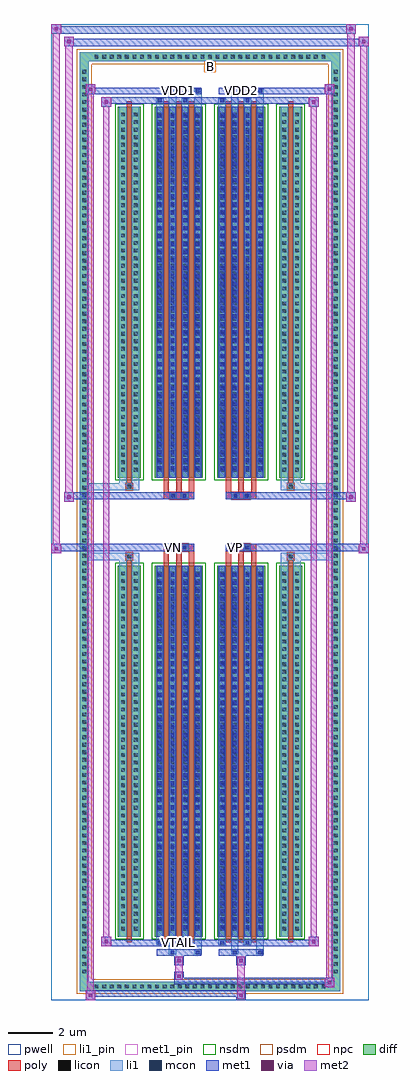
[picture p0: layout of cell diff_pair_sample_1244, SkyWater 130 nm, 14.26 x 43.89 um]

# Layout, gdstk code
import gdstk
lib = gdstk.Library(unit=1e-6, precision=5e-09)
def R(c, l, rs):  # rectangles x0, y0, x1, y1
    for r in rs: c.add(gdstk.rectangle(r[:2], r[2:], *l))
def A(c, l, x, y, w, h, nx, ny, dx, dy):  # array of equal rectangles
    R(c, l, [(x+i*dx, y+j*dy, x+i*dx+w, y+j*dy+h) for i in range(nx) for j in range(ny)])
def P(c, l, *ps):  # polygons
    for p in ps: c.add(gdstk.Polygon(p, *l))
pwell = (64, 44)
diff = (65, 20)
poly = (66, 20)
licon = (66, 44)
li1_pin = (67, 16)
li1 = (67, 20)
mcon = (67, 44)
met1_pin = (68, 16)
met1 = (68, 20)
via = (68, 44)
met2 = (69, 20)
nsdm = (93, 44)
psdm = (94, 20)
npc = (95, 20)

diff_pair_sample_1244 = lib.new_cell('diff_pair_sample_1244')
R(diff_pair_sample_1244, pwell, [(-7.13,-21.51,7.13,22.38), (-4.45,-19.7,-0.01,-0.8), (0.01,-19.7,4.45,-0.8), (-4.45,0.8,-0.01,19.7), (0.01,0.8,4.45,19.7)])
A(diff_pair_sample_1244, diff, -5.305, -21.11, 0.41, 0.41, 31, 2, 0.34, 41.81)
A(diff_pair_sample_1244, diff, -5.86, -20.435, 0.41, 0.41, 1, 120, 0, 0.34)
A(diff_pair_sample_1244, diff, 5.45, -20.435, 0.41, 0.41, 1, 120, 0, 0.34)
R(diff_pair_sample_1244, diff, [(-5.305,-21.11,5.305,-20.7), (-5.86,-20.435,-5.45,20.435), (5.45,-20.435,5.86,20.435), (-4.14,-18.655,-3.12,-1.985), (-2.48,-18.655,-0.32,-1.985), (0.32,-18.655,2.48,-1.985), (3.12,-18.655,4.14,-1.985), (-4.14,1.985,-3.12,18.655), (-2.48,1.985,-0.32,18.655), (0.32,1.985,2.48,18.655), (3.12,1.985,4.14,18.655), (-5.305,20.7,5.305,21.11)])
P(diff_pair_sample_1244, diff, [(5.86,21.11),(-5.86,21.11),(-5.86,-20.7),(-5.45,-20.7),(-5.45,20.7),(5.45,20.7),(5.45,-20.7),(-5.45,-20.7),(-5.86,-20.7),(-5.86,-21.11),(5.86,-21.11)])
A(diff_pair_sample_1244, poly, -2.09, -18.905, 0.24, 17.17, 3, 2, 0.57, 20.64)
A(diff_pair_sample_1244, poly, 0.71, -18.905, 0.24, 17.17, 3, 2, 0.57, 20.64)
A(diff_pair_sample_1244, poly, -2.09, -1.735, 0.24, 0.405, 3, 2, 0.57, 3.065)
A(diff_pair_sample_1244, poly, 0.71, -1.735, 0.24, 0.405, 3, 2, 0.57, 3.065)
R(diff_pair_sample_1244, poly, [(-3.75,-18.905,-3.51,-1.735), (3.51,-18.905,3.75,-1.735), (-3.795,-1.735,-3.465,-1.405), (-3.795,-1.735,-3.465,-1.405), (3.465,-1.735,3.795,-1.405), (3.465,-1.735,3.795,-1.405), (-2.09,-1.33,-0.71,-1), (-1.815,-1.33,-1.485,-1), (-1.315,-1.33,-0.985,-1), (0.71,-1.33,2.09,-1), (0.985,-1.33,1.315,-1), (1.485,-1.33,1.815,-1), (-2.09,1,-0.71,1.33), (-1.815,1,-1.485,1.33), (-1.315,1,-0.985,1.33), (0.71,1,2.09,1.33), (0.985,1,1.315,1.33), (1.485,1,1.815,1.33), (-3.795,1.405,-3.465,1.735), (-3.795,1.405,-3.465,1.735), (3.465,1.405,3.795,1.735), (3.465,1.405,3.795,1.735), (-3.75,1.735,-3.51,18.905), (3.51,1.735,3.75,18.905)])
A(diff_pair_sample_1244, licon, -5.185, -20.99, 0.17, 0.17, 31, 2, 0.34, 41.81)
A(diff_pair_sample_1244, licon, -5.74, -20.315, 0.17, 0.17, 1, 120, 0, 0.34)
A(diff_pair_sample_1244, licon, 5.57, -20.315, 0.17, 0.17, 1, 120, 0, 0.34)
A(diff_pair_sample_1244, licon, -4, -18.395, 0.17, 0.17, 1, 48, 0, 0.34)
A(diff_pair_sample_1244, licon, -3.43, -18.395, 0.17, 0.17, 1, 48, 0, 0.34)
A(diff_pair_sample_1244, licon, -2.34, -18.395, 0.17, 0.17, 4, 48, 0.57, 0.34)
A(diff_pair_sample_1244, licon, 0.46, -18.395, 0.17, 0.17, 4, 48, 0.57, 0.34)
A(diff_pair_sample_1244, licon, 3.26, -18.395, 0.17, 0.17, 1, 48, 0, 0.34)
A(diff_pair_sample_1244, licon, 3.83, -18.395, 0.17, 0.17, 1, 48, 0, 0.34)
A(diff_pair_sample_1244, licon, -4, 2.245, 0.17, 0.17, 1, 48, 0, 0.34)
A(diff_pair_sample_1244, licon, -3.43, 2.245, 0.17, 0.17, 1, 48, 0, 0.34)
A(diff_pair_sample_1244, licon, -2.34, 2.245, 0.17, 0.17, 4, 48, 0.57, 0.34)
A(diff_pair_sample_1244, licon, 0.46, 2.245, 0.17, 0.17, 4, 48, 0.57, 0.34)
A(diff_pair_sample_1244, licon, 3.26, 2.245, 0.17, 0.17, 1, 48, 0, 0.34)
A(diff_pair_sample_1244, licon, 3.83, 2.245, 0.17, 0.17, 1, 48, 0, 0.34)
R(diff_pair_sample_1244, licon, [(-3.715,-1.655,-3.545,-1.485), (3.545,-1.655,3.715,-1.485), (-1.735,-1.25,-1.565,-1.08), (-1.235,-1.25,-1.065,-1.08), (1.065,-1.25,1.235,-1.08), (1.565,-1.25,1.735,-1.08), (-1.735,1.08,-1.565,1.25), (-1.235,1.08,-1.065,1.25), (1.065,1.08,1.235,1.25), (1.565,1.08,1.735,1.25), (-3.715,1.485,-3.545,1.655), (3.545,1.485,3.715,1.655)])
R(diff_pair_sample_1244, li1_pin, [(-0.25,20.2,0.25,20.7)])
A(diff_pair_sample_1244, li1, -5.265, -21.07, 0.33, 0.33, 31, 2, 0.34, 41.81)
A(diff_pair_sample_1244, li1, -5.82, -20.395, 0.33, 0.33, 1, 120, 0, 0.34)
A(diff_pair_sample_1244, li1, 5.49, -20.395, 0.33, 0.33, 1, 120, 0, 0.34)
A(diff_pair_sample_1244, li1, -2.42, -18.655, 0.33, 16.67, 4, 2, 0.57, 20.64)
A(diff_pair_sample_1244, li1, 0.38, -18.655, 0.33, 16.67, 4, 2, 0.57, 20.64)
A(diff_pair_sample_1244, li1, -4.08, -18.475, 0.33, 0.33, 1, 48, 0, 0.34)
A(diff_pair_sample_1244, li1, -3.51, -18.475, 0.33, 0.33, 1, 48, 0, 0.34)
A(diff_pair_sample_1244, li1, -2.42, -18.475, 0.33, 0.33, 4, 48, 0.57, 0.34)
A(diff_pair_sample_1244, li1, 0.38, -18.475, 0.33, 0.33, 4, 48, 0.57, 0.34)
A(diff_pair_sample_1244, li1, 3.18, -18.475, 0.33, 0.33, 1, 48, 0, 0.34)
A(diff_pair_sample_1244, li1, 3.75, -18.475, 0.33, 0.33, 1, 48, 0, 0.34)
A(diff_pair_sample_1244, li1, -2.34, -18.325, 0.17, 0.17, 4, 45, 0.57, 0.36)
A(diff_pair_sample_1244, li1, -2.34, -18.325, 0.17, 16.01, 4, 2, 0.57, 20.64)
A(diff_pair_sample_1244, li1, 0.46, -18.325, 0.17, 0.17, 4, 45, 0.57, 0.36)
A(diff_pair_sample_1244, li1, 0.46, -18.325, 0.17, 16.01, 4, 2, 0.57, 20.64)
A(diff_pair_sample_1244, li1, -4.08, 2.165, 0.33, 0.33, 1, 48, 0, 0.34)
A(diff_pair_sample_1244, li1, -3.51, 2.165, 0.33, 0.33, 1, 48, 0, 0.34)
A(diff_pair_sample_1244, li1, -2.42, 2.165, 0.33, 0.33, 4, 48, 0.57, 0.34)
A(diff_pair_sample_1244, li1, 0.38, 2.165, 0.33, 0.33, 4, 48, 0.57, 0.34)
A(diff_pair_sample_1244, li1, 3.18, 2.165, 0.33, 0.33, 1, 48, 0, 0.34)
A(diff_pair_sample_1244, li1, 3.75, 2.165, 0.33, 0.33, 1, 48, 0, 0.34)
A(diff_pair_sample_1244, li1, -2.34, 2.315, 0.17, 0.17, 4, 45, 0.57, 0.36)
A(diff_pair_sample_1244, li1, 0.46, 2.315, 0.17, 0.17, 4, 45, 0.57, 0.36)
R(diff_pair_sample_1244, li1, [(-5.86,-21.11,-5.45,-20.7), (-5.86,-21.11,-5.45,-20.7), (-5.45,-21.11,5.45,-20.7), (5.45,-21.11,5.86,-20.7), (5.45,-21.11,5.86,-20.7), (-5.86,-20.7,-5.45,20.7), (5.45,-20.7,5.86,20.7), (-1.85,-19.46,-1.52,-18.655), (-1.77,-19.46,-1.6,-19.29), (-0.71,-19.46,-0.38,-18.655), (-0.63,-19.46,-0.46,-19.29), (0.95,-19.46,1.28,-18.655), (1.03,-19.46,1.2,-19.29), (2.09,-19.46,2.42,-18.655), (2.17,-19.46,2.34,-19.29), (-2.42,-19.03,-2.09,-18.655), (-2.34,-19.03,-2.17,-18.86), (-1.28,-19.03,-0.95,-18.655), (-1.2,-19.03,-1.03,-18.86), (0.38,-19.03,0.71,-18.655), (0.46,-19.03,0.63,-18.86), (1.52,-19.03,1.85,-18.655), (1.6,-19.03,1.77,-18.86), (-4.08,-18.655,-3.75,-1.985), (-3.51,-18.655,-3.18,-1.985), (3.18,-18.655,3.51,-1.985), (3.75,-18.655,4.08,-1.985), (-4.08,-1.985,-3.75,-1.405), (-3.51,-1.985,-3.18,-1.405), (3.18,-1.985,3.51,-1.405), (3.75,-1.985,4.08,-1.405), (-5.86,-1.735,-3.795,-1.405), (-4.08,-1.735,-3.795,-1.405), (-3.795,-1.735,-3.465,-1.405), (-3.465,-1.735,-3.18,-1.405), (3.18,-1.735,3.465,-1.405), (3.465,-1.735,3.795,-1.405), (3.465,-1.735,5.86,-1.405), (3.795,-1.735,4.08,-1.405), (-1.815,-1.33,-1.485,-1), (-1.315,-1.33,-0.985,-1), (0.985,-1.33,1.315,-1), (1.485,-1.33,1.815,-1), (-1.815,1,-1.485,1.33), (-1.315,1,-0.985,1.33), (0.985,1,1.315,1.33), (1.485,1,1.815,1.33), (-5.86,1.405,-3.795,1.735), (-4.08,1.405,-3.795,1.735), (-4.08,1.405,-3.75,1.985), (-3.795,1.405,-3.465,1.735), (-3.51,1.405,-3.18,1.985), (-3.465,1.405,-3.18,1.735), (3.18,1.405,3.465,1.735), (3.18,1.405,3.51,1.985), (3.465,1.405,3.795,1.735), (3.465,1.405,5.86,1.735), (3.75,1.405,4.08,1.985), (3.795,1.405,4.08,1.735), (-4.08,1.985,-3.75,18.655), (-3.51,1.985,-3.18,18.655), (3.18,1.985,3.51,18.655), (3.75,1.985,4.08,18.655), (-2.42,18.655,-2.09,19.03), (-1.85,18.655,-1.52,19.46), (-1.28,18.655,-0.95,19.03), (-0.71,18.655,-0.38,19.46), (0.38,18.655,0.71,19.03), (0.95,18.655,1.28,19.46), (1.52,18.655,1.85,19.03), (2.09,18.655,2.42,19.46), (-2.34,18.86,-2.17,19.03), (-1.2,18.86,-1.03,19.03), (0.46,18.86,0.63,19.03), (1.6,18.86,1.77,19.03), (-1.77,19.29,-1.6,19.46), (-0.63,19.29,-0.46,19.46), (1.03,19.29,1.2,19.46), (2.17,19.29,2.34,19.46), (-5.86,20.7,-5.45,21.11), (-5.86,20.7,-5.45,21.11), (-5.45,20.7,5.45,21.11), (5.45,20.7,5.86,21.11), (5.45,20.7,5.86,21.11)])
A(diff_pair_sample_1244, mcon, -2.34, -18.325, 0.17, 0.17, 4, 45, 0.57, 0.36)
A(diff_pair_sample_1244, mcon, 0.46, -18.325, 0.17, 0.17, 4, 45, 0.57, 0.36)
A(diff_pair_sample_1244, mcon, -2.34, 2.315, 0.17, 0.17, 4, 45, 0.57, 0.36)
A(diff_pair_sample_1244, mcon, 0.46, 2.315, 0.17, 0.17, 4, 45, 0.57, 0.36)
R(diff_pair_sample_1244, mcon, [(-1.77,-19.46,-1.6,-19.29), (-0.63,-19.46,-0.46,-19.29), (1.03,-19.46,1.2,-19.29), (2.17,-19.46,2.34,-19.29), (-2.34,-19.03,-2.17,-18.86), (-1.2,-19.03,-1.03,-18.86), (0.46,-19.03,0.63,-18.86), (1.6,-19.03,1.77,-18.86), (-1.735,-1.25,-1.565,-1.08), (-1.235,-1.25,-1.065,-1.08), (1.065,-1.25,1.235,-1.08), (1.565,-1.25,1.735,-1.08), (-1.735,1.08,-1.565,1.25), (-1.235,1.08,-1.065,1.25), (1.065,1.08,1.235,1.25), (1.565,1.08,1.735,1.25), (-2.34,18.86,-2.17,19.03), (-1.2,18.86,-1.03,19.03), (0.46,18.86,0.63,19.03), (1.6,18.86,1.77,19.03), (-1.77,19.29,-1.6,19.46), (-0.63,19.29,-0.46,19.46), (1.03,19.29,1.2,19.46), (2.17,19.29,2.34,19.46)])
R(diff_pair_sample_1244, met1_pin, [(-1.535,-19.07,-1.265,-18.8), (-1.785,-1.29,-1.515,-1.02), (1.015,-1.29,1.285,-1.02), (-1.535,19.25,-1.265,19.52), (1.265,19.25,1.535,19.52)])
A(diff_pair_sample_1244, met1, -2.4, -18.655, 0.29, 16.67, 4, 2, 0.57, 20.64)
A(diff_pair_sample_1244, met1, 0.4, -18.655, 0.29, 16.67, 4, 2, 0.57, 20.64)
A(diff_pair_sample_1244, met1, -2.4, -18.385, 0.29, 0.29, 4, 45, 0.57, 0.36)
A(diff_pair_sample_1244, met1, 0.4, -18.385, 0.29, 0.29, 4, 45, 0.57, 0.36)
A(diff_pair_sample_1244, met1, -2.4, 2.255, 0.29, 0.29, 4, 45, 0.57, 0.36)
A(diff_pair_sample_1244, met1, 0.4, 2.255, 0.29, 0.29, 4, 45, 0.57, 0.36)
R(diff_pair_sample_1244, met1, [(-5.59,-21.51,-5.16,-21.08), (1.185,-21.51,1.615,-21.08), (-5.59,-21.37,1.615,-21.08), (5.16,-20.94,5.59,-20.51), (-1.615,-20.8,5.59,-20.51), (-1.615,-20.66,-1.185,-20.23), (-1.615,-19.95,-1.185,-19.52), (1.185,-19.95,1.615,-19.52), (-2.4,-19.52,-0.4,-19.23), (-1.83,-19.52,-1.54,-19.23), (-0.69,-19.52,-0.4,-19.23), (0.4,-19.52,2.4,-19.23), (0.97,-19.52,1.26,-19.23), (2.11,-19.52,2.4,-19.23), (-4.88,-19.09,-4.45,-18.66), (-4.88,-19.09,-2.4,-18.8), (-2.4,-19.09,-2.11,-18.8), (-2.4,-19.09,-0.4,-18.8), (-1.26,-19.09,-0.97,-18.8), (-0.4,-19.09,0.4,-18.8), (0.4,-19.09,0.69,-18.8), (0.4,-19.09,2.4,-18.8), (1.54,-19.09,1.83,-18.8), (2.4,-19.09,4.88,-18.8), (4.45,-19.09,4.88,-18.66), (-7.13,-1.43,-6.7,-1), (6.7,-1.43,7.13,-1), (-7.13,-1.33,-0.71,-1), (-2.09,-1.33,-0.71,-1), (0.71,-1.33,2.09,-1), (0.71,-1.33,7.13,-1), (-1.795,-1.31,-1.505,-1.02), (-1.295,-1.31,-1.005,-1.02), (1.005,-1.31,1.295,-1.02), (1.505,-1.31,1.795,-1.02), (-6.56,0.9,-6.13,1.33), (6.13,0.9,6.56,1.33), (-6.56,1,-2.09,1.33), (-2.09,1,-0.71,1.33), (0.71,1,2.09,1.33), (2.09,1,6.56,1.33), (-1.795,1.02,-1.505,1.31), (-1.295,1.02,-1.005,1.31), (1.005,1.02,1.295,1.31), (1.505,1.02,1.795,1.31), (-4.88,18.66,-4.45,19.09), (4.45,18.66,4.88,19.09), (-4.88,18.8,-2.4,19.09), (-2.4,18.8,-2.11,19.09), (-2.4,18.8,-0.4,19.09), (-1.26,18.8,-0.97,19.09), (-0.4,18.8,0.4,19.09), (0.4,18.8,0.69,19.09), (0.4,18.8,2.4,19.09), (1.54,18.8,1.83,19.09), (2.4,18.8,4.88,19.09), (-5.59,19.23,-5.16,19.66), (-5.59,19.23,-2.4,19.52), (-2.4,19.23,-0.4,19.52), (-1.83,19.23,-1.54,19.52), (-0.69,19.23,-0.4,19.52), (0.4,19.23,2.4,19.52), (0.97,19.23,1.26,19.52), (2.11,19.23,2.4,19.52), (2.4,19.23,5.59,19.52), (5.16,19.23,5.59,19.66), (-6.56,21.38,-6.13,21.81), (-6.56,21.38,-4.45,21.71), (-4.45,21.38,4.45,21.71), (4.45,21.38,7.13,21.71), (6.7,21.38,7.13,21.81), (-7.13,21.95,-6.7,22.38), (-7.13,21.95,-4.45,22.28), (-4.45,21.95,4.45,22.28), (4.45,21.95,6.56,22.28), (6.13,21.95,6.56,22.38)])
R(diff_pair_sample_1244, via, [(-5.45,-21.37,-5.3,-21.22), (1.325,-21.37,1.475,-21.22), (5.3,-20.8,5.45,-20.65), (-1.475,-20.52,-1.325,-20.37), (-1.475,-19.81,-1.325,-19.66), (1.325,-19.81,1.475,-19.66), (-4.74,-18.95,-4.59,-18.8), (4.59,-18.95,4.74,-18.8), (-6.99,-1.29,-6.84,-1.14), (6.84,-1.29,6.99,-1.14), (-6.42,1.04,-6.27,1.19), (6.27,1.04,6.42,1.19), (-4.74,18.8,-4.59,18.95), (4.59,18.8,4.74,18.95), (-5.45,19.37,-5.3,19.52), (5.3,19.37,5.45,19.52), (-6.42,21.52,-6.27,21.67), (6.84,21.52,6.99,21.67), (-6.99,22.09,-6.84,22.24), (6.27,22.09,6.42,22.24)])
R(diff_pair_sample_1244, met2, [(-5.59,-21.51,-5.16,-21.08), (-5.52,-21.51,-5.23,19.66), (-5.23,-21.51,-5.16,-21.08), (-5.54,-21.46,-5.21,-21.13), (1.235,-21.46,1.565,-21.13), (1.235,-21.13,1.565,-19.9), (5.16,-20.94,5.59,-20.51), (5.23,-20.94,5.52,19.66), (5.52,-20.94,5.59,-20.51), (5.21,-20.89,5.54,-20.56), (-1.565,-20.61,-1.235,-20.28), (-1.565,-20.28,-1.235,-19.9), (-1.565,-19.9,-1.235,-19.57), (1.235,-19.9,1.565,-19.57), (-4.88,-19.09,-4.45,-18.66), (-4.81,-19.09,-4.52,19.09), (-4.52,-19.09,-4.45,-18.66), (4.45,-19.09,4.88,-18.66), (4.52,-19.09,4.81,19.09), (4.81,-19.09,4.88,-18.66), (-4.83,-19.04,-4.5,-18.71), (4.5,-19.04,4.83,-18.71), (-7.13,-1.43,-6.7,-1), (-7.08,-1.43,-6.75,22.38), (-6.75,-1.43,-6.7,-1), (6.7,-1.43,7.13,-1), (6.75,-1.43,7.08,21.81), (7.08,-1.43,7.13,-1), (-7.08,-1.38,-6.75,-1.05), (6.75,-1.38,7.08,-1.05), (-6.56,0.9,-6.13,1.33), (-6.51,0.9,-6.18,21.81), (-6.18,0.9,-6.13,1.33), (6.13,0.9,6.56,1.33), (6.18,0.9,6.51,22.38), (6.51,0.9,6.56,1.33), (-6.51,0.95,-6.18,1.28), (6.18,0.95,6.51,1.28), (-4.88,18.66,-4.45,19.09), (-4.52,18.66,-4.45,19.09), (4.45,18.66,4.88,19.09), (4.81,18.66,4.88,19.09), (-4.83,18.71,-4.5,19.04), (4.5,18.71,4.83,19.04), (-5.59,19.23,-5.16,19.66), (-5.23,19.23,-5.16,19.66), (5.16,19.23,5.59,19.66), (5.52,19.23,5.59,19.66), (-5.54,19.28,-5.21,19.61), (5.21,19.28,5.54,19.61), (-6.56,21.38,-6.13,21.81), (-6.18,21.38,-6.13,21.81), (6.7,21.38,7.13,21.81), (7.08,21.38,7.13,21.81), (-6.51,21.43,-6.18,21.76), (6.75,21.43,7.08,21.76), (-7.13,21.95,-6.7,22.38), (-6.75,21.95,-6.7,22.38), (6.13,21.95,6.56,22.38), (6.51,21.95,6.56,22.38), (-7.08,22,-6.75,22.33), (6.18,22,6.51,22.33)])
R(diff_pair_sample_1244, nsdm, [(-4.27,-18.785,-2.99,-1.855), (-2.61,-18.785,-0.19,-1.855), (0.19,-18.785,2.61,-1.855), (2.99,-18.785,4.27,-1.855), (-4.27,1.855,-2.99,18.785), (-2.61,1.855,-0.19,18.785), (0.19,1.855,2.61,18.785), (2.99,1.855,4.27,18.785)])
P(diff_pair_sample_1244, psdm, [(5.99,21.24),(-5.99,21.24),(-5.99,-20.57),(-5.32,-20.57),(-5.32,20.57),(5.32,20.57),(5.32,-20.57),(-5.32,-20.57),(-5.99,-20.57),(-5.99,-21.24),(5.99,-21.24)])
R(diff_pair_sample_1244, npc, [(-3.815,-1.755,-3.445,-1.385), (3.445,-1.755,3.815,-1.385), (-1.835,-1.35,-1.465,-0.98), (-1.835,-1.35,-0.965,-0.98), (-1.835,-1.35,-0.965,-0.98), (-1.335,-1.35,-0.965,-0.98), (0.965,-1.35,1.335,-0.98), (0.965,-1.35,1.835,-0.98), (0.965,-1.35,1.835,-0.98), (1.465,-1.35,1.835,-0.98), (-1.835,0.98,-1.465,1.35), (-1.835,0.98,-0.965,1.35), (-1.835,0.98,-0.965,1.35), (-1.335,0.98,-0.965,1.35), (0.965,0.98,1.335,1.35), (0.965,0.98,1.835,1.35), (0.965,0.98,1.835,1.35), (1.465,0.98,1.835,1.35), (-3.815,1.385,-3.445,1.755), (3.445,1.385,3.815,1.755)])
diff_pair_sample_1244.add(gdstk.Label('VTAIL', (-1.4,-18.935), layer=68, texttype=5))
diff_pair_sample_1244.add(gdstk.Label('VN', (-1.65,-1.155), layer=68, texttype=5))
diff_pair_sample_1244.add(gdstk.Label('VP', (1.15,-1.155), layer=68, texttype=5))
diff_pair_sample_1244.add(gdstk.Label('B', (0,20.45), layer=67, texttype=5))
diff_pair_sample_1244.add(gdstk.Label('VDD2', (1.4,19.385), layer=68, texttype=5))
diff_pair_sample_1244.add(gdstk.Label('VDD1', (-1.4,19.385), layer=68, texttype=5))

lib.write_gds('diff_pair_sample_1244.gds')
